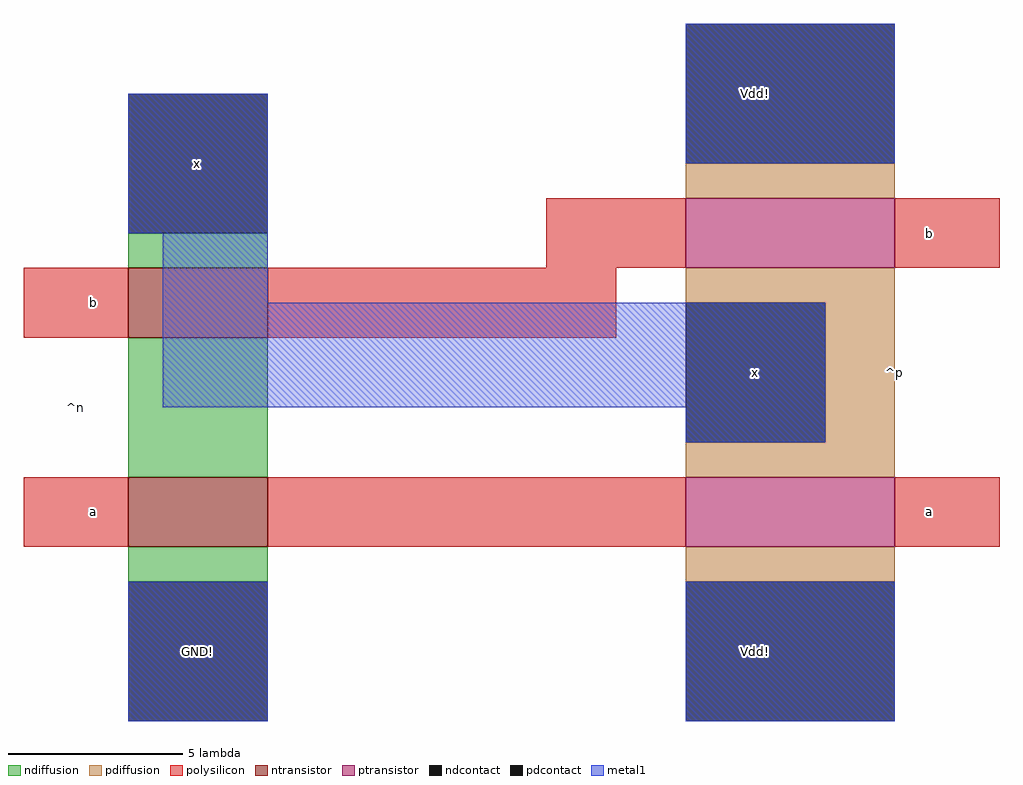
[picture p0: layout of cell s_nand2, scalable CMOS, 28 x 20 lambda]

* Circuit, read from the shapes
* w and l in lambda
.subckt s_nand2 GND! Vdd! a b x
M1 n1 a GND! VSUBS nfet w=4 l=2
M2 x b n1 VSUBS nfet w=4 l=2
M3 x a Vdd! NWELL pfet w=6 l=2
M4 Vdd! b x NWELL pfet w=6 l=2
.ends

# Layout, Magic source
magic
tech scmos
<< ndiffusion >>
rect 12 552 16 553
rect 12 546 16 550
rect 12 543 16 544
<< pdiffusion >>
rect 28 554 34 555
rect 28 551 34 552
rect 32 547 34 551
rect 28 546 34 547
rect 28 543 34 544
<< ntransistor >>
rect 12 550 16 552
rect 12 544 16 546
<< ptransistor >>
rect 28 552 34 554
rect 28 544 34 546
<< polysilicon >>
rect 24 552 28 554
rect 34 552 37 554
rect 9 550 12 552
rect 16 550 26 552
rect 9 544 12 546
rect 16 544 28 546
rect 34 544 37 546
<< ndcontact >>
rect 12 553 16 557
rect 12 539 16 543
<< pdcontact >>
rect 28 555 34 559
rect 28 547 32 551
rect 28 539 34 543
<< metal1 >>
rect 12 553 16 557
rect 28 555 34 559
rect 13 551 16 553
rect 13 548 32 551
rect 28 547 32 548
rect 12 539 16 543
rect 28 539 34 543
<< labels >>
rlabel polysilicon 11 545 11 545 3 a
rlabel polysilicon 11 551 11 551 3 b
rlabel polysilicon 35 545 35 545 7 a
rlabel polysilicon 35 553 35 553 7 b
rlabel space 31 538 37 560 3 ^p
rlabel space 9 539 12 557 7 ^n
rlabel ndcontact 14 541 14 541 2 GND!
rlabel pdcontact 30 549 30 549 1 x
rlabel ndcontact 14 555 14 555 4 x
rlabel pdcontact 30 557 30 557 6 Vdd!
rlabel pdcontact 30 541 30 541 8 Vdd!
<< end >>
